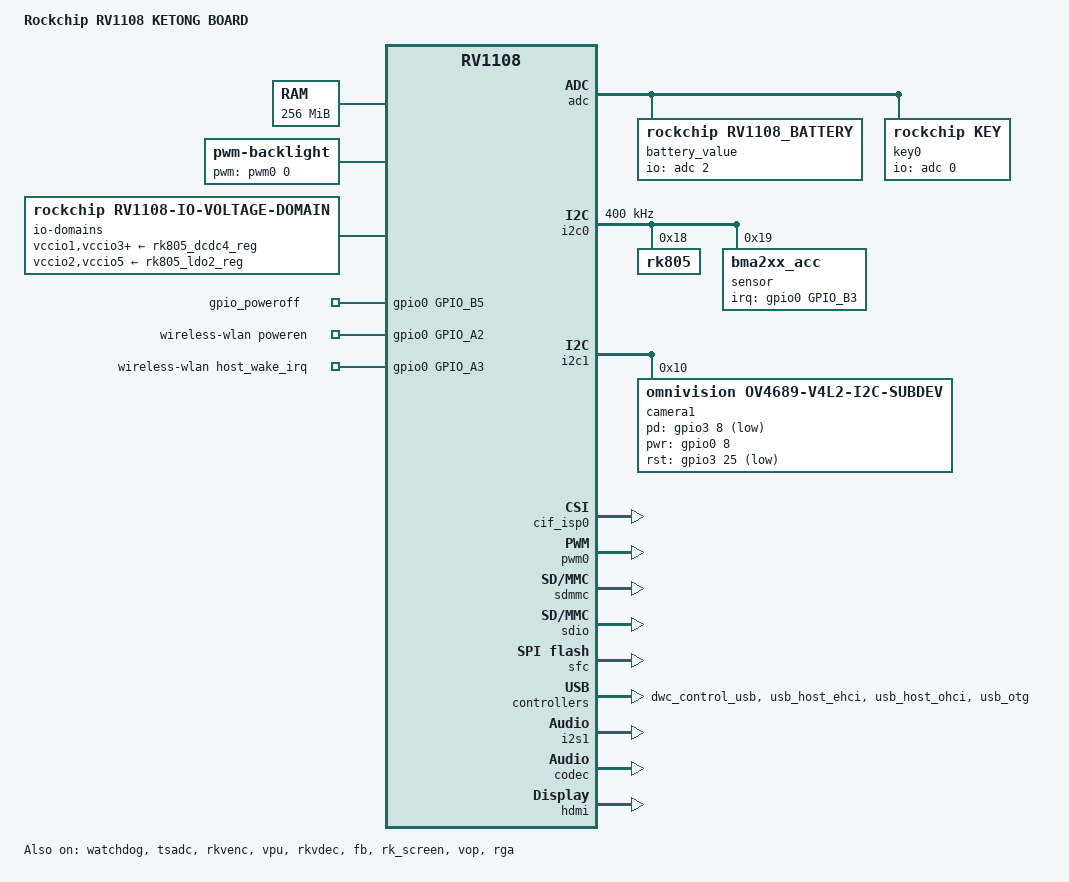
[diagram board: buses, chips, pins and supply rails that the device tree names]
/*
 * Copyright (c) 2016 Fuzhou Rockchip Electronics Co., Ltd
 *
 * This file is dual-licensed: you can use it either under the terms
 * of the GPL or the X11 license, at your option. Note that this dual
 * licensing only applies to this file, and not this project as a
 * whole.
 *
 *  a) This file is free software; you can redistribute it and/or
 *     modify it under the terms of the GNU General Public License as
 *     published by the Free Software Foundation; either version 2 of the
 *     License, or (at your option) any later version.
 *
 *     This file is distributed in the hope that it will be useful,
 *     but WITHOUT ANY WARRANTY; without even the implied warranty of
 *     MERCHANTABILITY or FITNESS FOR A PARTICULAR PURPOSE.  See the
 *     GNU General Public License for more details.
 *
 * Or, alternatively,
 *
 *  b) Permission is hereby granted, free of charge, to any person
 *     obtaining a copy of this software and associated documentation
 *     files (the "Software"), to deal in the Software without
 *     restriction, including without limitation the rights to use,
 *     copy, modify, merge, publish, distribute, sublicense, and/or
 *     sell copies of the Software, and to permit persons to whom the
 *     Software is furnished to do so, subject to the following
 *     conditions:
 *
 *     The above copyright notice and this permission notice shall be
 *     included in all copies or substantial portions of the Software.
 *
 *     THE SOFTWARE IS PROVIDED "AS IS", WITHOUT WARRANTY OF ANY KIND,
 *     EXPRESS OR IMPLIED, INCLUDING BUT NOT LIMITED TO THE WARRANTIES
 *     OF MERCHANTABILITY, FITNESS FOR A PARTICULAR PURPOSE AND
 *     NONINFRINGEMENT. IN NO EVENT SHALL THE AUTHORS OR COPYRIGHT
 *     HOLDERS BE LIABLE FOR ANY CLAIM, DAMAGES OR OTHER LIABILITY,
 *     WHETHER IN AN ACTION OF CONTRACT, TORT OR OTHERWISE, ARISING
 *     FROM, OUT OF OR IN CONNECTION WITH THE SOFTWARE OR THE USE OR
 *     OTHER DEALINGS IN THE SOFTWARE.
 */

/dts-v1/;

#include "rv1108.dtsi"
#include "lcd-ili8961-rgb.dtsi"
#include "dt-bindings/suspend/rockchip-pm.h"

/ {
	model = "Rockchip RV1108 KETONG BOARD";
	compatible = "rockchip,rv1108-ketong", "rockchip,rv1108";

	memory {
		device_type = "memory";
		reg = <0x60000000 0x10000000>;
	};

	fiq-debugger {
		status = "okay";
		rockchip,serial-id = <2>;
		pinctrl-0 = <&uart2m0_xfer>;
	};

	rockchip_suspend: rockchip_suspend {
		rockchip,ctrbits = <
			(0
			|RKPM_CTR_GTCLKS
			|RKPM_CTR_PLLS
			/*|RKPM_CTR_ARMOFF_LPMD*/
			|RKPM_CTR_ARMLOGDP_LPMD
			/*|RKPM_CTR_IDLESRAM_MD*/
			|RKPM_CTR_DDR
			|RKPM_CTR_PMIC
			/*|RKPM_CTR_BUS_IDLE*/
			|RKPM_CTR_SYSCLK_32K
			)
			>;
		rockchip,pmic-suspend_gpios = <0>;
	};

	chosen {
		bootargs = "rockchip_jtag noinitrd root=/dev/mtdblock3 rootfstype=squashfs";
	};

	ion {
		compatible = "rockchip,ion";
		#address-cells = <1>;
		#size-cells = <0>;

		/* memory region for dsp pool, start from 0x62000000 */
		dsp {
			compatible = "rockchip,ion-heap";
			rockchip,ion_heap = <2>;
			reg = <0x62000000 0x100000>; /* 1MB@32M */
		};
		ion_cma: rockchip,ion-heap@4 { /* CMA HEAP */
			compatible = "rockchip,ion-heap";
			rockchip,ion_heap = <4>;
			reg = <0x00000000 0x08000000>; /* 128MB */
		};
		rockchip,ion-heap@0 { /* VMALLOC HEAP */
			compatible = "rockchip,ion-heap";
			rockchip,ion_heap = <0>;
		};
	};

	backlight {
		compatible = "pwm-backlight";
		pwms = <&pwm0 0 1000000>;
		brightness-levels = <
			  0   1   2   3   4   5   6   7
			  8   9  10  11  12  13  14  15
			 16  17  18  19  20  21  22  23
			 24  25  26  27  28  29  30  31
			 32  33  34  35  36  37  38  39
			 40  41  42  43  44  45  46  47
			 48  49  50  51  52  53  54  55
			 56  57  58  59  60  61  62  63
			 64  65  66  67  68  69  70  71
			 72  73  74  75  76  77  78  79
			 80  81  82  83  84  85  86  87
			 88  89  90  91  92  93  94  95
			 96  97  98  99 100 101 102 103
			104 105 106 107 108 109 110 111
			112 113 114 115 116 117 118 119
			120 121 122 123 124 125 126 127
			128 129 130 131 132 133 134 135
			136 137 138 139 140 141 142 143
			144 145 146 147 148 149 150 151
			152 153 154 155 156 157 158 159
			160 161 162 163 164 165 166 167
			168 169 170 171 172 173 174 175
			176 177 178 179 180 181 182 183
			184 185 186 187 188 189 190 191
			192 193 194 195 196 197 198 199
			200 201 202 203 204 205 206 207
			208 209 210 211 212 213 214 215
			216 217 218 219 220 221 222 223
			224 225 226 227 228 229 230 231
			232 233 234 235 236 237 238 239
			240 241 242 243 244 245 246 247
			248 249 250 251 252 253 254 255>;
		default-brightness-level = <200>;
	};

	io-domains {
		compatible = "rockchip,rv1108-io-voltage-domain";
		rockchip,grf = <&grf>;
		rockchip,pmugrf = <&pmugrf>;

		/* GRF_IO_VSEL */
		status = "okay";
		vccio1-supply = <&rk805_dcdc4_reg>;
		vccio2-supply = <&rk805_ldo2_reg>;
		vccio3-supply = <&rk805_dcdc4_reg>;
		vccio5-supply = <&rk805_ldo2_reg>;

		/* PMU_GRF_IO_VSEL */
		pmu-supply = <&rk805_dcdc4_reg>;
	};

	/* pmic_sleep */
	gpio_poweroff {
		compatible = "gpio-poweroff";
		gpios = <&gpio0 GPIO_B5 GPIO_ACTIVE_HIGH>;
		status = "okay";
	};

	wireless-wlan {
		compatible = "wlan-platdata";
		wifi_chip_type = "ap6212";
		sdio_vref = <0>;
		WIFI,poweren_gpio = <&gpio0 GPIO_A2 GPIO_ACTIVE_HIGH>;
		WIFI,host_wake_irq = <&gpio0 GPIO_A3 GPIO_ACTIVE_HIGH>;
		status = "okay";
	};

	rockchip_audio {
		compatible = "rockchip,rv1108-audio";
		dais {
			dai0 {
				audio-codec = <&codec>;
				audio-controller = <&i2s1>;
				format = "i2s";
			};
		};
	};
};

&clk_core_dvfs_table {

	operating-points = <
		/* KHz	  uV */
		408000 950000
		600000 950000
		816000 1000000
		1008000 1100000
		>;
	status = "okay";
};

&watchdog {
	status = "okay";
	rockchip,timeout = <5>;
	rockchip,atboot = <0>;
};

&adc {
	status = "okay";

	battery_value {
		compatible = "rockchip,rv1108_battery";
		io-channels = <&adc 2>;
		battery-levels = <
			3800 3853 3856 3859 3862 3865 3868 3871 3874 3877
			3880 3883 3886 3389 3892 3895 3898 3901 3904 3907
			3910 3913 3916 3919 3922 3925 3928 3931 3934 3937
			3940 3943 3946 3949 3952 3955 3958 3961 3964 3967
			3970 3973 3976 3979 3982 3985 3988 3991 3994 3997
			4000 4003 4006 4009 4012 4015 4018 4021 4024 4027
			4030 4033 4036 4039 4042 4045 4048 4051 4054 4057
			4060 4063 4066 4069 4072 4075 4080 4085 4090 4095
			4100 4105 4110 4115 4120 4125 4130 4135 4140 4145
			4150 4155 4160 4165 4170 4175 4180 4185 4190 4200>;
	};

	key0 {
		compatible = "rockchip,key";
		io-channels = <&adc 0>;
		adc-drift = <45>;

		tab-key {
			linux,code = <15>;
			label = "tab";
			rockchip,adc_value = <523>;
		};

		enter-key {
			linux,code = <28>;
			label = "volume down";
			rockchip,adc_value = <170>;
		};

		up-key {
			linux,code = <103>;
			label = "up";
			rockchip,adc_value = <670>;
		};

		down-key {
			linux,code = <108>;
			label = "down";
			rockchip,adc_value = <1>;
		};

		menu-key {
			linux,code = <127>;
			label = "menu";
			rockchip,adc_value = <350>;
		};
	};
};

&i2c0 {
	status = "okay";

	i2c-scl-rising-time-ns = <275>;
	i2c-scl-falling-time-ns = <16>;
	clock-frequency = <400000>;

	rk805: rk805@18 {
		reg = <0x18>;
		status = "okay";
	};

	sensor: sensor@19 {
		compatible = "bma2xx_acc";
		reg = <0x19>;
		type = <2>;
		irq-gpio = <&gpio0 GPIO_B3 IRQ_TYPE_LEVEL_HIGH>;
		irq_enable = <0>;
		poll_delay_ms = <30>;
		layout = <2>;
		status = "okay";
	};

};

&i2c1 {
	status = "okay";

	camera1: camera-module@36-1 {
		status = "okay";
		compatible = "omnivision,ov4689-v4l2-i2c-subdev";
		reg = <0x10>;
		device_type = "v4l2-i2c-subdev";
		clocks = <&clk_mipicsi_out>;
		clock-names = "clk_mipicsi_out";
		pinctrl-names = "rockchip,camera_default", "rockchip,camera_sleep";
		pinctrl-0 = <&cam0_default_pins>;
		pinctrl-1 = <&cam0_sleep_pins>;
		rockchip,pd-gpio = <&gpio3 8 GPIO_ACTIVE_LOW>;
		rockchip,pwr-gpio = <&gpio0 8 GPIO_ACTIVE_HIGH>;
		rockchip,rst-gpio = <&gpio3 25 GPIO_ACTIVE_LOW>;
		rockchip,camera-module-mclk-name = "clk_mipicsi_out";
		rockchip,camera-module-regulator-names = "vdd_cam";
		rockchip,camera-module-regulator-voltages = <1200000>;
		rockchip,camera-module-facing = "back";
		rockchip,camera-module-name = "LA6111PA";
		rockchip,camera-module-len-name = "YM6011P";
		rockchip,camera-module-fov-h = "116";
		rockchip,camera-module-fov-v = "61";
		rockchip,camera-module-orientation = <0>;
		rockchip,camera-module-iq-flip = <0>;
		rockchip,camera-module-iq-mirror = <0>;
		rockchip,camera-module-flip = <1>;
		rockchip,camera-module-mirror = <0>;
		/* resolution.w, resolution.h, defrect.left, defrect.top, defrect.w, defrect.h */
		rockchip,camera-module-defrect0 = <2688 1520 0 0 2688 1520>;
		rockchip,camera-module-flash-support = <0>;
		rockchip,camera-module-mipi-dphy-index = <0>;
	};
};

&cif_isp0 {
	rockchip,camera-modules-attached = <&camera1>;
	status = "okay";
};

&pwm0 {
	status = "okay";
};

&sdmmc {
	clock-frequency = <50000000>;
	clock-freq-min-max = <200000 50000000>;
	supports-highspeed;
	supports-sd;
	broken-cd;
	card-detect-delay = <200>;
	ignore-pm-notify;
	keep-power-in-suspend;
	power-inverted;
	status = "okay";
};

&sdio {
	clock-frequency = <50000000>;
	clock-freq-min-max = <200000 50000000>;
	supports-highspeed;
	supports-sdio;
	ignore-pm-notify;
	keep-power-in-suspend;
	cap-sdio-irq;
	status = "okay";
};

&sfc {
	status = "okay";
};

#include "rv1108-rk805-v12.dtsi" /* rk805 v12 */

&dwc_control_usb {
	rockchip,remote_wakeup;
	rockchip,usb_irq_wakeup;
	status = "okay";
};

&tsadc {
	status = "okay";
};

&usb_host_ehci {
	status = "okay";
};

&usb_host_ohci {
	status = "okay";
};

&usb_otg {
	rockchip,high-bandwidth;
	status = "okay";
};

&rkvenc {
	status = "okay";
};

&vpu {
	status = "okay";
};

&rkvdec {
	status = "okay";
};

&fb {
	status = "okay";
};

&rk_screen {
	status = "okay";
	screen_init: screen_init {
		screen-init-type = <SCREEN_INIT_SPI>;
		cs-gpio  = <&gpio1 GPIO_D1 GPIO_ACTIVE_LOW>;
		sdi-gpio = <&gpio0 GPIO_A7 GPIO_ACTIVE_LOW>;
		scl-gpio = <&gpio1 GPIO_D0 GPIO_ACTIVE_LOW>;
		rst-gpio = <&gpio0 GPIO_C3 GPIO_ACTIVE_LOW>;
	};
};

&vop {
	status = "okay";
	power_ctr: power_ctr {
		rockchip,debug = <0>;
		/*
		lcd_en: lcd_en {
			rockchip,power_type = <GPIO>;
			gpios = <&gpio0 GPIO_C5 GPIO_ACTIVE_HIGH>;
			rockchip,delay = <10>;
		};
		*/
	};
};

&rga {
	status = "okay";
};

&i2s1 {
	status = "okay";
};

&codec {
	status = "okay";
	spk_ctl_io = <&gpio0 GPIO_A5 GPIO_ACTIVE_HIGH>;
};

&hdmi {
	status = "okay";
};
